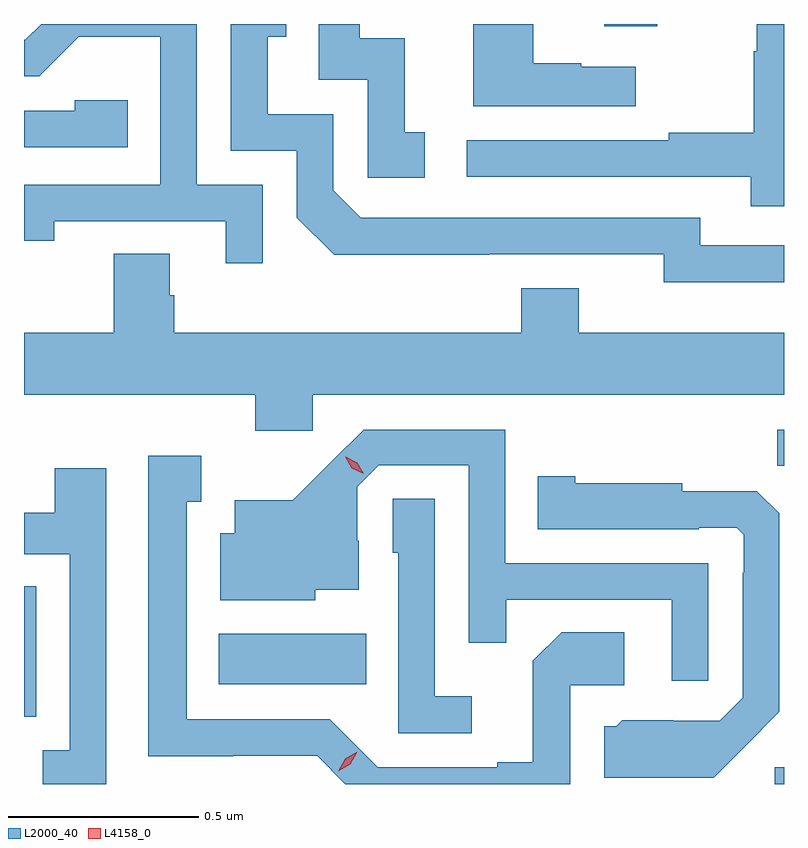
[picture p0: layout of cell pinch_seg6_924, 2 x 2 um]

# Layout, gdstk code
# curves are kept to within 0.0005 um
import gdstk
lib = gdstk.Library(unit=1e-6, precision=1e-09)
def R(c, l, rs):  # rectangles x0, y0, x1, y1
    for r in rs: c.add(gdstk.rectangle(r[:2], r[2:], *l))
def P(c, l, *ps):  # polygons
    for p in ps: c.add(gdstk.Polygon(p, *l))
L2000_40 = (2000, 40)
L4158_0 = (4158, 0)

pinch_seg6_924 = lib.new_cell('pinch_seg6_924')
R(pinch_seg6_924, L2000_40, [(137.499,918.34,137.524,918.384), (135.524,918.517,135.556,918.86), (136.037,918.602,136.424,918.736), (137.506,919.177,137.524,919.272), (137.051,920.334,137.191,920.34)])
P(pinch_seg6_924, L2000_40, [(137.134,920.227),(136.991,920.227),(136.991,920.237),(136.864,920.237),(136.864,920.34),(136.706,920.34),(136.706,920.123),(137.134,920.123)],
  [(137.524,920.34),(137.452,920.34),(137.452,920.268),(137.445,920.268),(137.445,920.054),(137.221,920.054),(137.221,920.034),(136.689,920.034),(136.689,919.938),(137.437,919.938),(137.437,919.86),(137.524,919.86)],
  [(137.524,919.758),(137.304,919.758),(137.304,919.83),(136.41,919.83),(136.338,919.902),(136.338,920.103),(136.165,920.103),(136.165,920.307),(136.214,920.307),(136.214,920.34),(136.068,920.34),(136.068,920.007),(136.242,920.007),(136.242,919.83),(136.34,919.733),(136.748,919.733),(136.748,919.734),(137.208,919.734),(137.208,919.661),(137.524,919.661)],
  [(136.152,919.917),(135.978,919.917),(135.978,920.34),(135.569,920.34),(135.527,920.298),(135.524,920.298),(135.524,920.202),(135.564,920.202),(135.668,920.306),(135.882,920.306),(135.882,919.917),(135.524,919.917),(135.524,919.77),(135.604,919.77),(135.604,919.821),(136.055,919.821),(136.055,919.71),(136.152,919.71)],
  [(136.579,920.055),(136.526,920.055),(136.526,920.302),(136.408,920.302),(136.408,920.34),(136.299,920.34),(136.299,920.193),(136.428,920.193),(136.428,919.935),(136.579,919.935)],
  [(135.797,920.139),(135.657,920.139),(135.657,920.112),(135.524,920.112),(135.524,920.016),(135.797,920.016)],
  [(136.284,919.364),(137.524,919.364),(137.524,919.528),(136.984,919.528),(136.984,919.645),(136.832,919.645),(136.832,919.528),(135.92,919.528),(135.92,919.626),(135.907,919.626),(135.907,919.736),(135.76,919.736),(135.76,919.528),(135.524,919.528),(135.524,919.364),(136.133,919.364),(136.133,919.269),(136.284,919.269)],
  [(137.325,918.921),(136.791,918.921),(136.791,919.272),(136.418,919.272),(136.231,919.087),(136.079,919.087),(136.079,919),(136.04,919),(136.04,918.824),(136.29,918.824),(136.29,918.851),(136.405,918.851),(136.405,918.98),(136.401,918.98),(136.401,919.122),(136.458,919.179),(136.695,919.179),(136.695,918.712),(136.793,918.712),(136.793,918.825),(137.229,918.825),(137.229,918.612),(137.325,918.612)],
  [(136.962,918.6),(137.104,918.6),(137.104,918.74),(136.939,918.74),(136.863,918.664),(136.863,918.397),(136.769,918.397),(136.769,918.384),(136.455,918.384),(136.329,918.51),(135.952,918.51),(135.952,919.083),(135.991,919.083),(135.991,919.204),(135.851,919.204),(135.851,918.413),(136.074,918.413),(136.074,918.414),(136.296,918.414),(136.37,918.34),(136.962,918.34)],
  [(135.741,919.171),(135.605,919.171),(135.605,919.054),(135.524,919.054),(135.524,918.945),(135.645,918.945),(135.645,918.429),(135.573,918.429),(135.573,918.34),(135.741,918.34)],
  [(137.419,918.437),(137.511,918.53),(137.511,919.052),(137.452,919.111),(137.256,919.111),(137.256,919.132),(136.974,919.132),(136.974,919.15),(136.876,919.15),(136.876,919.01),(137.3,919.01),(137.3,919.014),(137.4,919.014),(137.418,918.996),(137.418,918.896),(137.415,918.896),(137.415,918.567),(137.355,918.507),(137.232,918.507),(137.232,918.508),(137.098,918.508),(137.082,918.492),(137.051,918.492),(137.051,918.356),(137.339,918.356)],
  [(136.702,918.571),(136.605,918.571),(136.605,919.091),(136.494,919.091),(136.494,918.948),(136.509,918.948),(136.509,918.474),(136.702,918.474)])
P(pinch_seg6_924, L4158_0, [(136.418,919.156),(136.387,919.171),(136.37,919.201),(136.37,919.201),(136.371,919.201),(136.401,919.186),(136.418,919.156),(136.418,919.156)],
  [(136.351,918.373),(136.351,918.373),(136.369,918.406),(136.401,918.425),(136.401,918.425),(136.401,918.425),(136.383,918.392),(136.351,918.373)])

lib.write_gds('pinch_seg6_924.gds')
